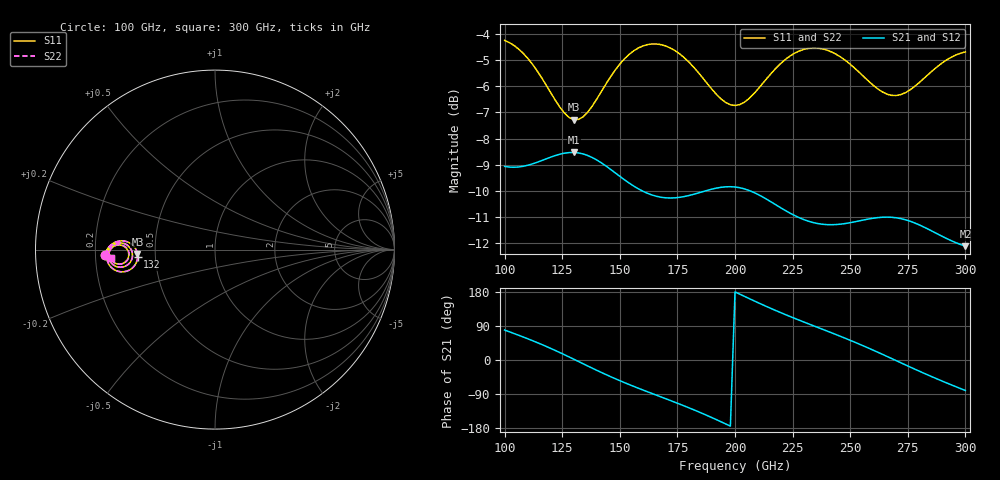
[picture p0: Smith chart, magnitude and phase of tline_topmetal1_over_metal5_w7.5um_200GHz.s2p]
#  GHZ S DB R 50
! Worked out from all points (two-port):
!   101 points, 100 GHz to 300 GHz, reference 50 ohm
!   highest |S21| = -8.53 dB at 130 GHz (marker M1); lowest = -12.1 dB at 300 GHz (marker M2)
!   |S21| within 3 dB of the highest: start of sweep to 285.1 GHz
!   lowest |S11| = -7.3 dB at 130 GHz (marker M3), VSWR 2.53, Z = 19.8 - j1.17 ohm
!   |S11| at or under -10 dB: nowhere
!   |S22| runs from -7.3 to -4.2 dB; largest |S21 - S12| = 6.2e-14
!   S11 on the Smith chart (normalised r, x): 100 GHz: 0.24, -0.02; 132 GHz: 0.40, -0.04; 300 GHz: 0.26, -0.04
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100  -4.24 -177.3  -9.07 79.1  -9.07 79.1  -4.24 -177.3
116  -5.66 174.6  -8.85 41.2  -8.85 41.2  -5.66 174.6
124  -6.80 177.1  -8.60 19.6  -8.60 19.6  -6.80 177.1
130  -7.27 -176.8  -8.53 2.2  -8.53 2.2  -7.28 -176.8
132  -7.27 -174.4  -8.55 -3.7  -8.55 -3.7  -7.27 -174.4
134  -7.17 -172.1  -8.59 -9.7  -8.59 -9.7  -7.17 -172.1
142  -6.20 -166.5  -8.93 -32.9  -8.93 -32.9  -6.20 -166.6
150  -5.14 -167.3  -9.45 -54.5  -9.45 -54.5  -5.15 -167.4
160  -4.45 -172.6  -10.02 -79.1  -10.02 -79.1  -4.45 -172.6
168  -4.40 -177.5  -10.25 -97.7  -10.25 -97.7  -4.40 -177.6
184  -5.46 176.0  -10.09 -136.3  -10.09 -136.3  -5.47 175.9
192  -6.31 177.6  -9.90 -157.6  -9.90 -157.6  -6.32 177.5
200  -6.73 -176.5  -9.86 179.7  -9.86 179.7  -6.75 -176.6
208  -6.30 -170.8  -10.06 156.9  -10.06 156.9  -6.31 -170.9
216  -5.47 -169.3  -10.45 135.0  -10.45 135.0  -5.48 -169.4
224  -4.83 -171.5  -10.87 114.6  -10.87 114.6  -4.84 -171.6
234  -4.52 -176.2  -11.23 90.5  -11.23 90.5  -4.54 -176.3
252  -5.30 177.3  -11.20 46.9  -11.20 46.9  -5.33 177.1
268  -6.34 -177.8  -11.02 3.8  -11.02 3.8  -6.39 -177.9
276  -6.13 -173.2  -11.17 -18.5  -11.17 -18.5  -6.18 -173.2
284  -5.53 -171.3  -11.48 -40.3  -11.48 -40.3  -5.57 -171.2
300  -4.68 -175.2  -12.13 -80.5  -12.13 -80.5  -4.70 -175.2
